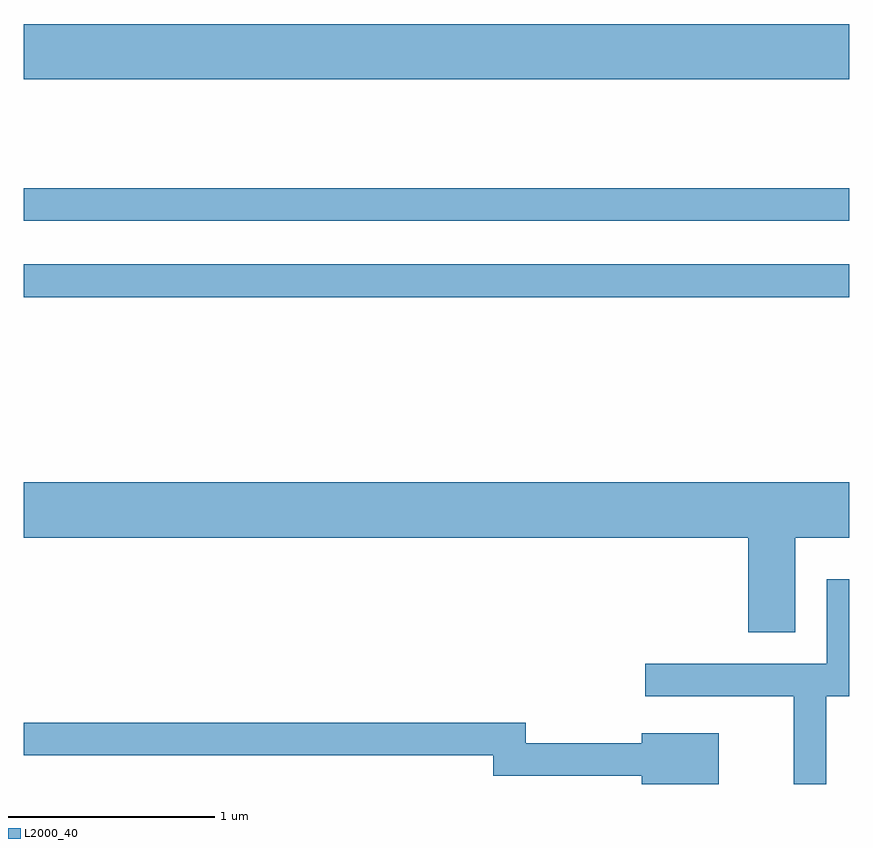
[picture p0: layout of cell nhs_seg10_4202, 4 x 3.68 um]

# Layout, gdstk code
import gdstk
lib = gdstk.Library(unit=1e-6, precision=1e-09)
def R(c, l, rs):  # rectangles x0, y0, x1, y1
    for r in rs: c.add(gdstk.rectangle(r[:2], r[2:], *l))
def P(c, l, *ps):  # polygons
    for p in ps: c.add(gdstk.Polygon(p, *l))
L2000_40 = (2000, 40)

nhs_seg10_4202 = lib.new_cell('nhs_seg10_4202')
R(nhs_seg10_4202, L2000_40, [(309.611,2092.881,313.611,2093.039), (309.611,2093.251,313.611,2093.409), (309.611,2093.936,313.611,2094.204)])
P(nhs_seg10_4202, L2000_40, [(313.349,2091.716),(313.611,2091.716),(313.611,2091.984),(309.611,2091.984),(309.611,2091.716),(313.121,2091.716),(313.121,2091.256),(313.349,2091.256)],
  [(313.499,2090.946),(313.611,2090.946),(313.611,2091.514),(313.501,2091.514),(313.501,2091.104),(312.623,2091.104),(312.623,2090.946),(313.341,2090.946),(313.341,2090.522),(313.499,2090.522)],
  [(312.979,2090.769),(312.606,2090.769),(312.606,2090.719),(312.044,2090.719),(312.044,2090.819),(309.611,2090.819),(309.611,2090.661),(311.886,2090.661),(311.886,2090.561),(312.606,2090.561),(312.606,2090.522),(312.979,2090.522)])

lib.write_gds('nhs_seg10_4202.gds')
